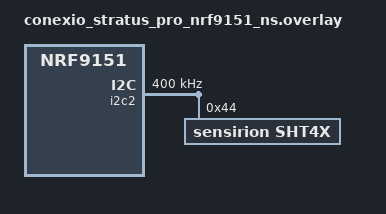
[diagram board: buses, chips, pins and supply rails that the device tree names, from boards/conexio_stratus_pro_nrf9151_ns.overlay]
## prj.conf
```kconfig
#
# Copyright (c) 2024 Conexio Technologies, Inc
#
# SPDX-License-Identifier: Apache-2.0
#

CONFIG_CBPRINTF_FP_SUPPORT=y

# Enable I2C
CONFIG_I2C=y

# Enable sensors
CONFIG_SENSOR=y

CONFIG_PM_DEVICE=y

CONFIG_LOG=y

# Enable Zephyr application to be booted by MCUboot
CONFIG_BOOTLOADER_MCUBOOT=y
```

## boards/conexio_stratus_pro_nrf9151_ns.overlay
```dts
/*
 * Copyright (c) 2024 Conexio Technologies, Inc
 *
 * SPDX-License-Identifier: Apache-2.0
 */

/*
 * Stratus Pro nRF9151 device overlay configuration for SHT4x sensor connected to QWIIC port
 *
 */
&i2c2 {
	status = "okay";
	clock-frequency = <I2C_BITRATE_FAST>;
	sht4x@44 {
		status = "okay";
		compatible = "sensirion,sht4x";
		reg = <0x44>;
		repeatability = <2>;
	};
};
```

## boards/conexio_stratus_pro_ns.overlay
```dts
/*
 * Copyright (c) 2024 Conexio Technologies, Inc
 *
 * SPDX-License-Identifier: Apache-2.0
 */

/*
 * Stratus Pro device overlay configuration for SHT4x sensor connected to QWIIC port
 *
 */
&i2c2 {
	status = "okay";
    clock-frequency = <I2C_BITRATE_FAST>;
	sht4x@44 {
		status = "okay";
		compatible = "sensirion,sht4x";
		reg = <0x44>;
		repeatability = <2>;
	};
};
```

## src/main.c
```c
/*
 * Copyright (c) 2021 Leonard Pollak
 * Copyright (c) 2024 Conexio Technologies, Inc
 * 
 * SPDX-License-Identifier: Apache-2.0
 */

#include <zephyr/kernel.h>
#include <zephyr/device.h>
#include <zephyr/drivers/sensor.h>
#include <stdio.h>

#include <zephyr/drivers/sensor/sht4x.h>

#if !DT_HAS_COMPAT_STATUS_OKAY(sensirion_sht4x)
#error "No sensirion,sht4x compatible node found in the device tree"
#endif

int main(void)
{
	printf("SHT4X sensor sample running on %s\n", CONFIG_BOARD);

	const struct device *sht = DEVICE_DT_GET_ANY(sensirion_sht4x);
	struct sensor_value temp, hum;

	if (!device_is_ready(sht)) {
		printf("Device %s is not ready.\n", sht->name);
		return 0;
	}

	while (true) {

		if (sensor_sample_fetch(sht)) {
			printf("Failed to fetch sample from SHT4X device\n");
			return 0;
		}

		sensor_channel_get(sht, SENSOR_CHAN_AMBIENT_TEMP, &temp);
		sensor_channel_get(sht, SENSOR_CHAN_HUMIDITY, &hum);

		printf("SHT4X: Temp: %d.%06d degC; RH: %d.%06d %%\n", temp.val1, temp.val2, hum.val1, hum.val2);

		k_sleep(K_MSEC(2000));
	}
}
```
